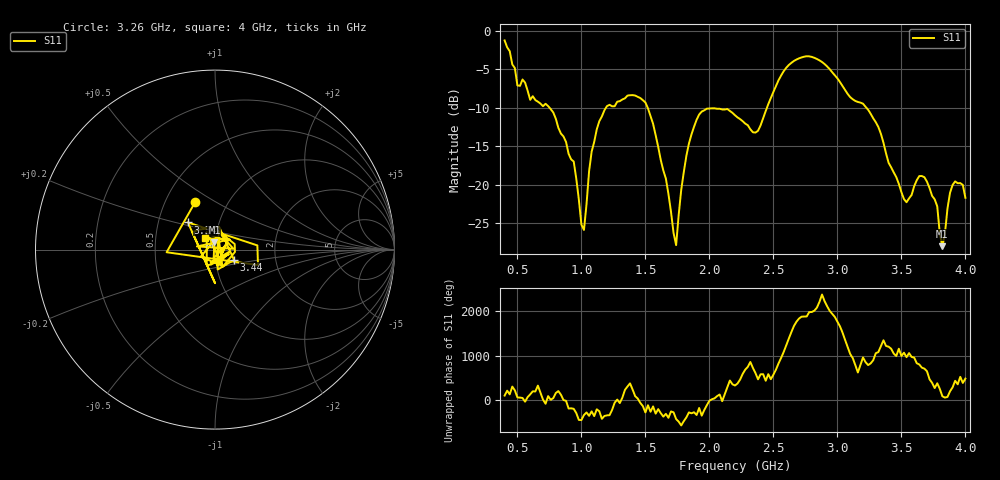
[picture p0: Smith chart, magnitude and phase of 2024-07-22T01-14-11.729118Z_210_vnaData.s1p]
!Created with skrf (http://scikit-rf.org).
# Hz S RI R 50.0
!freq ReS11 ImS11
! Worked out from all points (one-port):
!   181 points, 400 MHz to 4 GHz, reference 50 ohm
!   lowest |S11| = -28.0 dB at 3.82 GHz (marker M1), VSWR 1.08, Z = 49.5 + j3.95 ohm
!   |S11| at or under -10 dB: 750.8 MHz to 1.192 GHz (441.1 MHz wide, 45.4 % of centre); 1.518 GHz to 2.45 GHz (931.8 MHz wide, 47 % of centre); 3.226 GHz to end of sweep
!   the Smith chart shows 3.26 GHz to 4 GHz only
!   S11 on the Smith chart (normalised r, x): 3.26 GHz: 0.70, +0.41; 3.34 GHz: 0.71, +0.22; 3.44 GHz: 1.23, -0.14; 4 GHz: 0.89, +0.11
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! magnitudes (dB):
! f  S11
! 400 MHz  -1.3
! 500 MHz  -7.1
! 860 MHz  -13.7
! 940 MHz  -17.0
! 1.02 GHz  -25.9
! 1.06 GHz  -18.2
! 1.12 GHz  -12.8
! 1.3 GHz  -9.1
! 1.5 GHz  -9.3
! 1.66 GHz  -19.2
! 1.74 GHz  -27.8
! 1.76 GHz  -23.9
! 1.82 GHz  -16.3
! 1.92 GHz  -10.9
! 2.2 GHz  -11.0
! 2.38 GHz  -13.0
! 2.66 GHz  -3.9
! 2.86 GHz  -3.9
! 3.1 GHz  -8.6
! 3.26 GHz  -10.8
! 3.34 GHz  -13.4
! 3.44 GHz  -18.4
! 3.56 GHz  -21.8
! 3.68 GHz  -19.0
! 3.78 GHz  -22.8
! 3.82 GHz  -28.0
! 3.9 GHz  -20.0
! 4 GHz  -21.7
